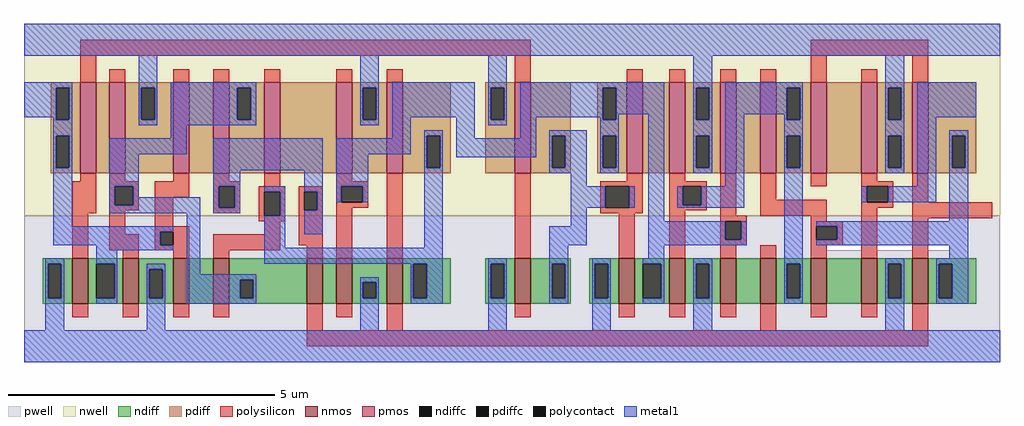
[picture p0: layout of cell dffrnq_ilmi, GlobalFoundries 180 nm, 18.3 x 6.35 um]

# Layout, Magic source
magic
tech gf180mcuD
<< nwell >>
rect -105 65 261 137
<< pwell >>
rect -105 54 261 65
rect -105 52 196 54
rect 209 52 215 54
rect 228 52 234 54
rect 242 52 261 54
rect -105 10 261 52
<< nmos >>
rect -87 32 -81 49
rect -68 32 -62 49
rect -49 32 -43 49
rect -34 32 -28 49
rect 1 32 7 49
rect 12 32 18 49
rect 31 32 37 49
rect 79 32 85 49
rect 118 32 124 49
rect 137 32 143 49
rect 156 32 162 49
rect 171 32 177 49
rect 190 32 196 49
rect 209 32 215 49
rect 228 32 234 49
<< pmos >>
rect -84 81 -78 115
rect -73 81 -67 115
rect -49 81 -43 115
rect -34 81 -28 115
rect -15 81 -9 115
rect 12 81 18 115
rect 31 81 37 115
rect 79 81 85 115
rect 121 81 127 115
rect 137 81 143 115
rect 156 81 162 115
rect 171 81 177 115
rect 190 81 196 115
rect 209 81 215 115
rect 228 81 234 115
<< ndiff >>
rect -98 47 -87 49
rect -98 34 -96 47
rect -91 34 -87 47
rect -98 32 -87 34
rect -81 47 -68 49
rect -81 34 -78 47
rect -71 34 -68 47
rect -81 32 -68 34
rect -62 45 -49 49
rect -62 34 -58 45
rect -53 34 -49 45
rect -62 32 -49 34
rect -43 32 -34 49
rect -28 41 1 49
rect -28 34 -24 41
rect -19 34 1 41
rect -28 32 1 34
rect 7 32 12 49
rect 18 40 31 49
rect 18 34 22 40
rect 27 34 31 40
rect 18 32 31 34
rect 37 47 55 49
rect 37 34 41 47
rect 46 34 55 47
rect 37 32 55 34
rect 68 47 79 49
rect 68 34 70 47
rect 75 34 79 47
rect 68 32 79 34
rect 85 47 100 49
rect 85 34 93 47
rect 98 34 100 47
rect 85 32 100 34
rect 107 47 118 49
rect 107 34 109 47
rect 114 34 118 47
rect 107 32 118 34
rect 124 47 137 49
rect 124 34 127 47
rect 134 34 137 47
rect 124 32 137 34
rect 143 47 156 49
rect 143 34 147 47
rect 152 34 156 47
rect 143 32 156 34
rect 162 32 171 49
rect 177 47 190 49
rect 177 34 181 47
rect 186 34 190 47
rect 177 32 190 34
rect 196 32 209 49
rect 215 47 228 49
rect 215 34 219 47
rect 224 34 228 47
rect 215 32 228 34
rect 234 47 252 49
rect 234 34 238 47
rect 243 34 252 47
rect 234 32 252 34
<< pdiff >>
rect -95 113 -84 115
rect -95 101 -93 113
rect -88 101 -84 113
rect -95 95 -84 101
rect -95 83 -93 95
rect -88 83 -84 95
rect -95 81 -84 83
rect -78 81 -73 115
rect -67 113 -49 115
rect -67 101 -61 113
rect -56 101 -49 113
rect -67 81 -49 101
rect -43 81 -34 115
rect -28 113 -15 115
rect -28 101 -25 113
rect -20 101 -15 113
rect -28 81 -15 101
rect -9 81 12 115
rect 18 113 31 115
rect 18 101 22 113
rect 27 101 31 113
rect 18 81 31 101
rect 37 95 55 115
rect 37 83 46 95
rect 51 83 55 95
rect 37 81 55 83
rect 68 113 79 115
rect 68 101 70 113
rect 75 101 79 113
rect 68 81 79 101
rect 85 95 100 115
rect 85 83 93 95
rect 98 83 100 95
rect 85 81 100 83
rect 110 113 121 115
rect 110 101 112 113
rect 117 101 121 113
rect 110 95 121 101
rect 110 83 112 95
rect 117 83 121 95
rect 110 81 121 83
rect 127 81 137 115
rect 143 113 156 115
rect 143 101 147 113
rect 152 101 156 113
rect 143 95 156 101
rect 143 83 147 95
rect 152 83 156 95
rect 143 81 156 83
rect 162 81 171 115
rect 177 113 190 115
rect 177 101 181 113
rect 186 101 190 113
rect 177 95 190 101
rect 177 83 181 95
rect 186 83 190 95
rect 177 81 190 83
rect 196 81 209 115
rect 215 113 228 115
rect 215 101 219 113
rect 224 101 228 113
rect 215 95 228 101
rect 215 83 219 95
rect 224 83 228 95
rect 215 81 228 83
rect 234 95 252 115
rect 234 83 243 95
rect 248 83 252 95
rect 234 81 252 83
<< ndiffc >>
rect -96 34 -91 47
rect -78 34 -71 47
rect -58 34 -53 45
rect -24 34 -19 41
rect 22 34 27 40
rect 41 34 46 47
rect 70 34 75 47
rect 93 34 98 47
rect 109 34 114 47
rect 127 34 134 47
rect 147 34 152 47
rect 181 34 186 47
rect 219 34 224 47
rect 238 34 243 47
<< pdiffc >>
rect -93 101 -88 113
rect -93 83 -88 95
rect -61 101 -56 113
rect -25 101 -20 113
rect 22 101 27 113
rect 46 83 51 95
rect 70 101 75 113
rect 93 83 98 95
rect 112 101 117 113
rect 112 83 117 95
rect 147 101 152 113
rect 147 83 152 95
rect 181 101 186 113
rect 181 83 186 95
rect 219 101 224 113
rect 219 83 224 95
rect 243 83 248 95
<< polysilicon >>
rect -84 125 85 131
rect -84 115 -78 125
rect -73 115 -67 120
rect -49 115 -43 120
rect -34 115 -28 120
rect -15 115 -9 120
rect 12 115 18 120
rect 31 115 37 120
rect 79 115 85 125
rect 190 125 234 131
rect 121 115 127 120
rect 137 115 143 120
rect 156 115 162 120
rect 171 115 177 120
rect 190 115 196 125
rect 209 115 215 120
rect 228 115 234 125
rect -84 78 -78 81
rect -87 66 -78 78
rect -73 78 -67 81
rect -49 78 -43 81
rect -73 76 -62 78
rect -73 69 -71 76
rect -64 69 -62 76
rect -73 67 -62 69
rect -56 72 -43 78
rect -34 78 -28 81
rect -34 76 -24 78
rect -15 76 -9 81
rect 12 78 18 81
rect 12 76 24 78
rect -87 49 -81 66
rect -73 58 -67 67
rect -56 61 -49 72
rect -34 68 -32 76
rect -26 68 -24 76
rect -34 66 -24 68
rect -17 74 -7 76
rect -17 65 -15 74
rect -9 65 -7 74
rect -17 63 -7 65
rect -2 74 7 76
rect -2 67 0 74
rect 5 67 7 74
rect -56 59 -43 61
rect -73 52 -62 58
rect -56 54 -54 59
rect -49 54 -43 59
rect -15 58 -9 63
rect -56 52 -43 54
rect -68 49 -62 52
rect -49 49 -43 52
rect -34 52 -9 58
rect -2 54 7 67
rect -34 49 -28 52
rect 1 49 7 54
rect 12 70 14 76
rect 22 70 24 76
rect 12 68 24 70
rect 12 49 18 68
rect 31 49 37 81
rect 79 49 85 81
rect 121 78 127 81
rect 111 76 127 78
rect 111 68 113 76
rect 122 68 127 76
rect 111 66 127 68
rect 137 78 143 81
rect 137 76 151 78
rect 137 69 142 76
rect 149 69 151 76
rect 137 67 151 69
rect 118 49 124 66
rect 137 49 143 67
rect 156 65 162 81
rect 171 71 177 81
rect 190 76 196 81
rect 209 78 215 81
rect 209 76 221 78
rect 171 65 196 71
rect 156 63 166 65
rect 156 56 158 63
rect 164 56 166 63
rect 156 54 166 56
rect 190 63 196 65
rect 209 70 211 76
rect 219 70 221 76
rect 209 68 221 70
rect 228 70 234 81
rect 190 61 202 63
rect 190 56 192 61
rect 200 56 202 61
rect 190 54 202 56
rect 156 49 162 54
rect 171 49 177 54
rect 190 49 196 54
rect 209 49 215 68
rect 228 64 258 70
rect 228 49 234 64
rect -87 27 -81 32
rect -68 27 -62 32
rect -49 27 -43 32
rect -34 27 -28 32
rect 1 22 7 32
rect 12 27 18 32
rect 31 22 37 32
rect 79 27 85 32
rect 118 27 124 32
rect 137 27 143 32
rect 156 27 162 32
rect 171 22 177 32
rect 190 27 196 32
rect 209 27 215 32
rect 228 22 234 32
rect 1 16 234 22
<< polycontact >>
rect -71 69 -64 76
rect -32 68 -26 76
rect -15 65 -9 74
rect 0 67 5 74
rect -54 54 -49 59
rect 14 70 22 76
rect 113 68 122 76
rect 142 69 149 76
rect 158 56 164 63
rect 211 70 219 76
rect 192 56 200 61
<< metal1 >>
rect -105 125 261 137
rect -105 113 -87 115
rect -105 102 -93 113
rect -94 101 -93 102
rect -88 101 -87 113
rect -94 95 -87 101
rect -62 113 -55 125
rect -62 101 -61 113
rect -56 101 -55 113
rect -62 99 -55 101
rect -50 113 -18 115
rect -50 101 -25 113
rect -20 101 -18 113
rect -50 99 -18 101
rect 21 113 28 125
rect 21 101 22 113
rect 27 101 28 113
rect 21 99 28 101
rect 33 102 64 115
rect -94 83 -93 95
rect -88 83 -87 95
rect -50 94 -44 99
rect 33 94 40 102
rect -94 61 -87 83
rect -73 88 -44 94
rect -73 76 -62 88
rect -73 69 -71 76
rect -64 72 -62 76
rect -34 82 7 94
rect -34 76 -24 82
rect -64 69 -39 72
rect -73 66 -39 69
rect -34 68 -32 76
rect -26 68 -24 76
rect -34 66 -24 68
rect -15 74 -7 76
rect -94 59 -49 61
rect -94 54 -54 59
rect -78 52 -49 54
rect -97 47 -90 49
rect -97 34 -96 47
rect -91 34 -90 47
rect -97 22 -90 34
rect -78 47 -70 52
rect -71 34 -70 47
rect -78 32 -70 34
rect -59 45 -52 47
rect -59 34 -58 45
rect -53 34 -52 45
rect -59 22 -52 34
rect -44 43 -39 66
rect -9 65 -7 74
rect -15 53 -7 65
rect 0 74 7 82
rect 5 67 7 74
rect 12 88 40 94
rect 45 95 52 97
rect 12 76 24 88
rect 12 70 14 76
rect 22 70 24 76
rect 45 83 46 95
rect 51 83 52 95
rect 57 94 64 102
rect 69 113 76 125
rect 69 101 70 113
rect 75 101 76 113
rect 69 99 76 101
rect 81 113 135 115
rect 81 102 112 113
rect 81 94 87 102
rect 111 101 112 102
rect 117 103 135 113
rect 117 101 118 103
rect 57 87 87 94
rect 92 95 106 97
rect 0 58 7 67
rect 45 53 52 83
rect 92 83 93 95
rect 98 83 106 95
rect 92 81 106 83
rect 111 95 118 101
rect 111 83 112 95
rect 117 83 118 95
rect 111 81 118 83
rect 100 76 106 81
rect 100 68 113 76
rect 122 68 124 76
rect 100 61 106 68
rect -15 47 52 53
rect 92 54 106 61
rect 129 63 135 103
rect 146 113 153 125
rect 146 101 147 113
rect 152 101 153 113
rect 146 95 153 101
rect 146 83 147 95
rect 152 83 153 95
rect 146 81 153 83
rect 158 113 187 115
rect 158 103 181 113
rect 158 76 165 103
rect 140 69 142 76
rect 149 69 165 76
rect 140 68 165 69
rect 180 101 181 103
rect 186 101 187 113
rect 180 95 187 101
rect 180 83 181 95
rect 186 83 187 95
rect 129 56 158 63
rect 164 56 166 63
rect 129 54 166 56
rect -44 41 -18 43
rect -44 34 -24 41
rect -19 34 -18 41
rect -44 32 -18 34
rect 21 40 28 42
rect 21 34 22 40
rect 27 34 28 40
rect 21 22 28 34
rect 40 34 41 47
rect 46 34 52 47
rect 40 32 52 34
rect 69 47 76 49
rect 69 34 70 47
rect 75 34 76 47
rect 69 22 76 34
rect 92 47 99 54
rect 129 49 135 54
rect 92 34 93 47
rect 98 34 99 47
rect 92 32 99 34
rect 108 47 115 49
rect 108 34 109 47
rect 114 34 115 47
rect 108 22 115 34
rect 127 47 135 49
rect 134 34 135 47
rect 127 32 135 34
rect 146 47 153 49
rect 146 34 147 47
rect 152 34 153 47
rect 146 22 153 34
rect 180 47 187 83
rect 218 113 225 125
rect 218 101 219 113
rect 224 101 225 113
rect 218 95 225 101
rect 218 83 219 95
rect 224 83 225 95
rect 218 81 225 83
rect 230 102 252 115
rect 230 76 237 102
rect 209 70 211 76
rect 219 70 237 76
rect 242 95 249 97
rect 242 83 243 95
rect 248 83 249 95
rect 242 63 249 83
rect 192 61 249 63
rect 200 56 249 61
rect 192 54 249 56
rect 242 49 249 54
rect 180 34 181 47
rect 186 34 187 47
rect 180 32 187 34
rect 218 47 225 49
rect 218 34 219 47
rect 224 34 225 47
rect 218 22 225 34
rect 237 47 249 49
rect 237 34 238 47
rect 243 34 249 47
rect 237 32 249 34
rect -105 10 261 22
<< end >>
